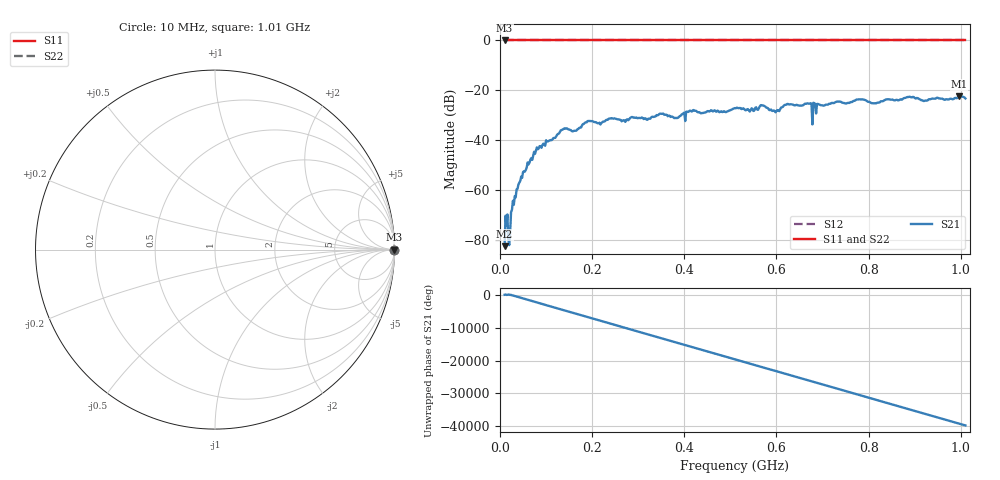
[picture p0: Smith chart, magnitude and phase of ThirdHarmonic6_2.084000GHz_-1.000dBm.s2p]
! 8/17/2025 12:57:10 AM
! C:\ANRITSUVNA\TEMP\TEMP.S2P
! CHANNEL.1
! TR.MEASUREMENT
! RAW.DATA
! RF.CORRECTION.OFF
! AVERAGING.OFF
! IF.BANDWIDTH: 5KHZ
! SWEEPTYPE:  FREQ.SWEEP(Linear)
! Reference Plane Port Info
! PORT:  PORT1  PORT2
! DISTANCE:  0  m  0  m
! TIME:  0  s  0  s
! PHASE.OFFSET:  0  deg.  0  deg.
! LOSS:  0  dB  0  dB
! REF.LOSS:  0  dB  0  dB
! REF.FREQ:  0  Hz  0  Hz
! Power Info
! POWER:  -20  dBm  -20  dBm
! EFF.POWER:  -20  dBm  -20  dBm
! SOURCE.ATTEN:  0  dB  0  dB
! TEST.ATTEN:  0  dB  0  dB
# GHZ S RI R 50.0
! FREQ.GHZ  S11RE  S11IM  S21RE  S21IM  S12RE  S12IM  S22RE  S22IM
!; PortSelection: Port_12
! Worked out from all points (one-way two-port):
!   501 points, 10 MHz to 1.01 GHz, reference 50 ohm
!   highest |S21| = -22.37 dB at 996 MHz (marker M1); lowest = -82.5 dB at 10 MHz (marker M2)
!   lowest |S11| = 0.0 dB at 10 MHz (marker M3)
!   |S11| at or under -10 dB: nowhere
!   |S22| runs from 0.0 to 0.0 dB; largest |S21 - S12| = 1.1
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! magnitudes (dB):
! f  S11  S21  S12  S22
! 10 MHz  0.0  -82.5  0.0  0.0
! 12 MHz  0.0  -70.3  0.0  0.0
! 22 MHz  0.0  -77.0  0.0  0.0
! 28 MHz  0.0  -64.3  0.0  0.0
! 42 MHz  0.0  -57.0  0.0  0.0
! 76 MHz  0.0  -45.5  0.0  0.0
! 136 MHz  0.0  -35.7  0.0  0.0
! 162 MHz  0.0  -36.3  0.0  0.0
! 178 MHz  0.0  -34.1  0.0  0.0
! 194 MHz  0.0  -32.3  0.0  0.0
! 344 MHz  0.0  -29.8  0.0  0.0
! 382 MHz  0.0  -31.1  0.0  0.0
! 416 MHz  0.0  -28.5  0.0  0.0
! 510 MHz  0.0  -27.1  0.0  0.0
! 570 MHz  0.0  -26.0  0.0  0.0
! 602 MHz  0.0  -27.9  0.0  0.0
! 622 MHz  0.0  -25.7  0.0  0.0
! 670 MHz  0.0  -25.4  0.0  0.0
! 678 MHz  0.0  -33.7  0.0  0.0
! 844 MHz  0.0  -23.6  0.0  0.0
! 996 MHz  0.0  -22.4  0.0  0.0
! 1.01 GHz  0.0  -23.3  0.0  0.0
